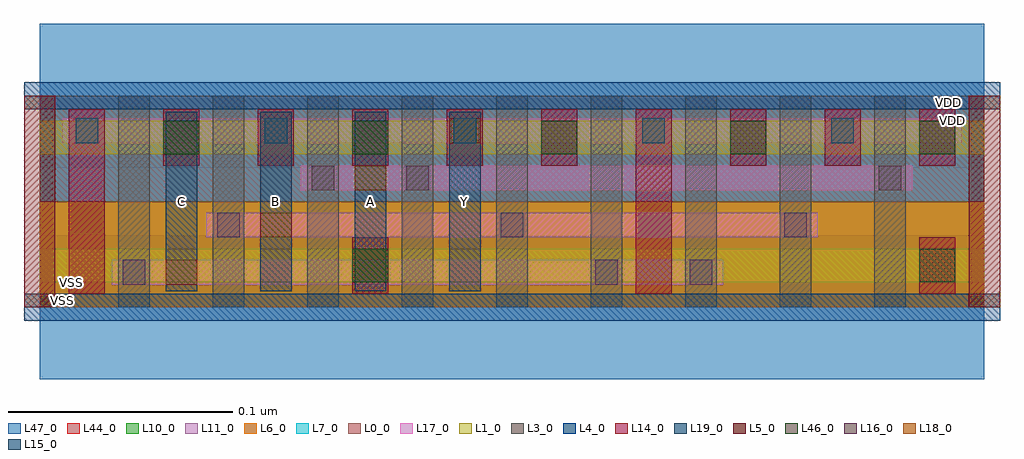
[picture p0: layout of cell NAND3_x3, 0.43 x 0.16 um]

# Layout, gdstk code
import gdstk
lib = gdstk.Library(unit=1e-6, precision=5e-10)
def R(c, l, rs):  # rectangles x0, y0, x1, y1
    for r in rs: c.add(gdstk.rectangle(r[:2], r[2:], *l))
def A(c, l, x, y, w, h, nx, ny, dx, dy):  # array of equal rectangles
    R(c, l, [(x+i*dx, y+j*dy, x+i*dx+w, y+j*dy+h) for i in range(nx) for j in range(ny)])
L0_0 = (0, 0)
L1_0 = (1, 0)
L3_0 = (3, 0)
L4_0 = (4, 0)
L5_0 = (5, 0)
L6_0 = (6, 0)
L7_0 = (7, 0)
L10_0 = (10, 0)
L11_0 = (11, 0)
L14_0 = (14, 0)
L15_0 = (15, 0)
L16_0 = (16, 0)
L17_0 = (17, 0)
L18_0 = (18, 0)
L19_0 = (19, 0)
L44_0 = (44, 0)
L46_0 = (46, 0)
L47_0 = (47, 0)

nand3_x3 = lib.new_cell('NAND3_x3')
R(nand3_x3, L0_0, [(0,0.047,0.42,0.094)])
R(nand3_x3, L1_0, [(0,0.011,0.42,0.026), (0,0.068,0.42,0.083)])
A(nand3_x3, L3_0, 0.035, 0, 0.014, 0.094, 9, 1, 0.042, 0)
R(nand3_x3, L4_0, [(-0.007,-0.006,0.427,0.006), (-0.007,0.088,0.427,0.1)])
R(nand3_x3, L5_0, [(-0.007,0,0.007,0.094), (0.413,0,0.427,0.094)])
R(nand3_x3, L6_0, [(0,0,0.42,0.047)])
R(nand3_x3, L7_0, [(0,0.047,0.42,0.094)])
R(nand3_x3, L10_0, [(0,0,0.42,0.047)])
R(nand3_x3, L11_0, [(0,0.047,0.42,0.094)])
A(nand3_x3, L14_0, 0.055, 0.063, 0.016, 0.025, 5, 1, 0.042, 0)
A(nand3_x3, L14_0, 0.307, 0.063, 0.016, 0.025, 3, 1, 0.042, 0)
R(nand3_x3, L14_0, [(0.013,0.006,0.029,0.088), (0.139,0.006,0.155,0.031), (0.265,0.006,0.281,0.088), (0.391,0.006,0.407,0.031)])
A(nand3_x3, L15_0, 0.016, 0.073, 0.01, 0.011, 5, 1, 0.084, 0)
A(nand3_x3, L16_0, 0.079, 0.031, 0.01, 0.011, 3, 1, 0.126, 0)
R(nand3_x3, L16_0, [(0.037,0.01,0.047,0.021), (0.247,0.01,0.257,0.021), (0.289,0.01,0.299,0.021), (0.121,0.052,0.131,0.063), (0.163,0.052,0.173,0.063), (0.373,0.052,0.383,0.063)])
R(nand3_x3, L17_0, [(0.032,0.01,0.304,0.021), (0.074,0.031,0.346,0.042), (0.116,0.052,0.388,0.063), (0.01,0.073,0.41,0.084)])
R(nand3_x3, L18_0, [(0.056,0.01,0.07,0.021), (0.098,0.031,0.112,0.042), (0.14,0.052,0.154,0.063), (0.182,0.073,0.196,0.084)])
A(nand3_x3, L19_0, 0.056, 0.007, 0.014, 0.08, 4, 1, 0.042, 0)
R(nand3_x3, L44_0, [(0,0,0.42,0.094)])
A(nand3_x3, L46_0, 0.055, 0.068, 0.016, 0.015, 5, 1, 0.084, 0)
R(nand3_x3, L46_0, [(0.139,0.011,0.155,0.026), (0.391,0.011,0.407,0.026)])
R(nand3_x3, L47_0, [(0,-0.032,0.42,0.032), (0,0.062,0.42,0.126)])
nand3_x3.add(gdstk.Label('Y', (0.189,0.047), layer=19, texttype=2))
nand3_x3.add(gdstk.Label('C', (0.063,0.047), layer=19, texttype=2))
nand3_x3.add(gdstk.Label('B', (0.105,0.047), layer=19, texttype=2))
nand3_x3.add(gdstk.Label('A', (0.147,0.047), layer=19, texttype=2))
nand3_x3.add(gdstk.Label('VDD', (0.406,0.083), layer=47, texttype=2))
nand3_x3.add(gdstk.Label('VSS', (0.014,0.011), layer=47, texttype=2))
nand3_x3.add(gdstk.Label('VDD', (0.404,0.091), layer=0, texttype=2))
nand3_x3.add(gdstk.Label('VSS', (0.01,0.003), layer=54, texttype=2))

lib.write_gds('NAND3_x3.gds')
